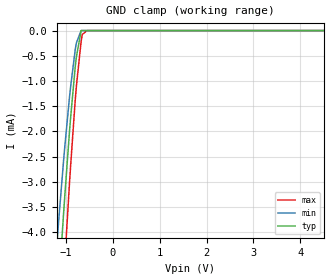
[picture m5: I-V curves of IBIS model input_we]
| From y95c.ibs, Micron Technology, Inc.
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|   MODEL INPUT WE#
[Model]   input_we
| Model used only for WE# input
Model_type   Input
Vinl = 800.000mV
Vinh = 2.000V
|   typ   min   max
C_comp   1.980pF   1.480pF   2.480pF
[Voltage Range]   3.300V   3.000V   3.600V
[Temperature Range]   25.0   85.0   0.0
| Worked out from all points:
|   GND clamp passes 1 mA (typ) near -0.83 V on its own axis
[GND Clamp]
|   Voltage   I(typ)   I(min)   I(max)
-3.3V     -271.7mA   -271.4mA   -276.7mA
-1.175V   -5.42mA    -4.031mA   -7.079mA
-1.15V    -5.054mA   -3.726mA   -6.654mA
-1.05V    -3.632mA   -2.583mA   -4.994mA
-1.025V   -3.295mA   -2.318mA   -4.594mA
-925mV    -2.021mA   -1.335mA   -3.049mA
-900mV    -1.734mA   -1.119mA   -2.69mA
-800mV    -709uA     -372.4uA   -1.365mA
-775mV    -515.5uA   -239.9uA   -1.09mA
-675mV    0A         0A         -213.6uA
6.6V      0A         0A         0A
